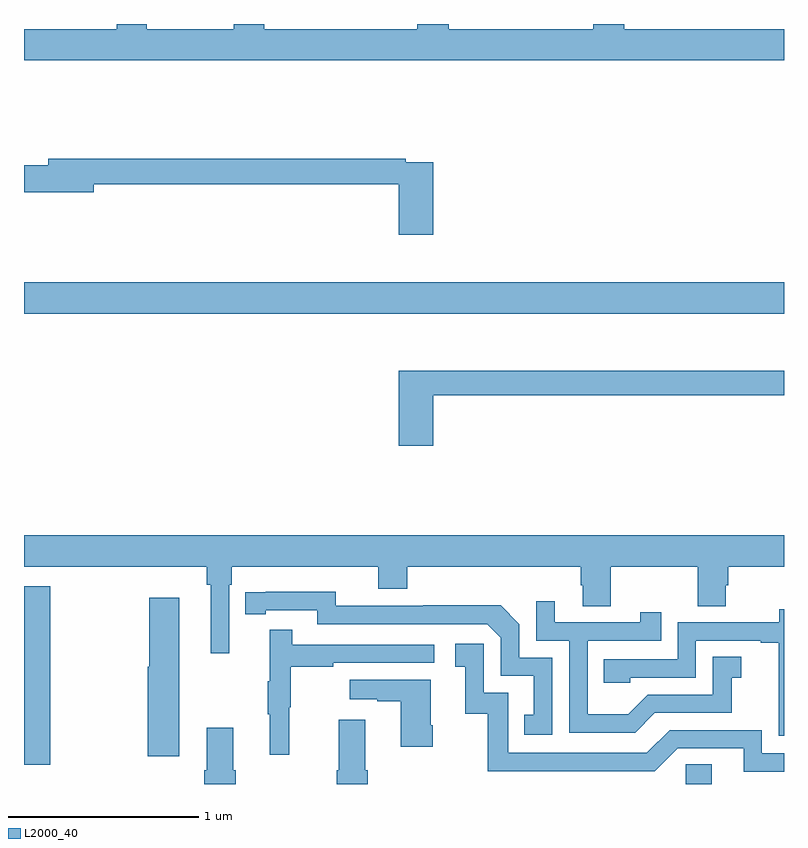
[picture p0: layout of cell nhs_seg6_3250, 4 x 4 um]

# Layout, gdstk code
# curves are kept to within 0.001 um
import gdstk
lib = gdstk.Library(unit=1e-6, precision=1e-09)
def R(c, l, rs):  # rectangles x0, y0, x1, y1
    for r in rs: c.add(gdstk.rectangle(r[:2], r[2:], *l))
def P(c, l, *ps):  # polygons
    for p in ps: c.add(gdstk.Polygon(p, *l))
L2000_40 = (2000, 40)

nhs_seg6_3250 = lib.new_cell('nhs_seg6_3250')
R(nhs_seg6_3250, L2000_40, [(304.482,971.5,304.621,971.603), (301,971.601,301.139,972.541), (301,973.976,305,974.14)])
P(nhs_seg6_3250, L2000_40, [(305,975.472),(304.16,975.472),(304.16,975.5),(303.995,975.5),(303.995,975.472),(303.236,975.472),(303.236,975.5),(303.071,975.5),(303.071,975.472),(302.264,975.472),(302.264,975.5),(302.104,975.5),(302.104,975.472),(301.647,975.472),(301.647,975.5),(301.487,975.5),(301.487,975.472),(301,975.472),(301,975.308),(305,975.308)],
  [(303.155,974.772),(303.008,974.772),(303.008,974.792),(301.127,974.792),(301.127,974.756),(301,974.756),(301,974.614),(301.366,974.614),(301.366,974.656),(302.972,974.656),(302.972,974.391),(303.155,974.391)],
  [(303.155,973.546),(305,973.546),(305,973.675),(302.972,973.675),(302.972,973.281),(303.155,973.281)],
  [(302.079,972.548),(302.093,972.548),(302.093,972.644),(302.864,972.644),(302.864,972.527),(303.017,972.527),(303.017,972.644),(303.929,972.644),(303.929,972.546),(303.941,972.546),(303.941,972.436),(304.089,972.436),(304.089,972.644),(304.546,972.644),(304.546,972.436),(304.693,972.436),(304.693,972.546),(304.706,972.546),(304.706,972.644),(305,972.644),(305,972.808),(301,972.808),(301,972.644),(301.963,972.644),(301.963,972.548),(301.982,972.548),(301.982,972.189),(302.079,972.189)],
  [(303.78,972.165),(303.606,972.165),(303.606,972.342),(303.508,972.44),(303.1,972.44),(303.1,972.438),(302.64,972.438),(302.64,972.511),(302.164,972.51),(302.164,972.394),(302.272,972.394),(302.272,972.414),(302.544,972.414),(302.544,972.342),(303.438,972.342),(303.51,972.27),(303.51,972.069),(303.683,972.069),(303.683,971.865),(303.634,971.865),(303.634,971.76),(303.78,971.76)],
  [(301.816,972.481),(301.658,972.481),(301.658,972.117),(301.652,972.117),(301.652,971.646),(301.816,971.646)],
  [(304.321,971.874),(304.725,971.874),(304.725,972.059),(304.774,972.059),(304.774,972.169),(304.626,972.169),(304.626,971.97),(304.284,971.97),(304.18,971.866),(303.966,971.866),(303.966,972.255),(304.355,972.255),(304.355,972.403),(304.244,972.403),(304.244,972.351),(303.793,972.351),(303.793,972.463),(303.696,972.463),(303.696,972.255),(303.87,972.255),(303.87,971.769),(304.216,971.769)],
  [(305,972.42),(304.974,972.42),(304.974,972.351),(304.44,972.351),(304.44,972.156),(304.051,972.156),(304.051,972.033),(304.191,972.033),(304.191,972.06),(304.536,972.06),(304.536,972.255),(304.877,972.255),(304.877,972.243),(304.973,972.243),(304.973,971.959),(304.972,971.959),(304.972,971.753),(305,971.753)],
  [(302.396,971.904),(302.404,971.904),(302.404,972.118),(302.627,972.118),(302.627,972.138),(303.16,972.138),(303.16,972.234),(302.411,972.234),(302.411,972.313),(302.294,972.313),(302.294,972.041),(302.283,972.041),(302.283,971.867),(302.294,971.867),(302.294,971.655),(302.396,971.655)],
  [(305,971.661),(304.884,971.661),(304.884,971.784),(304.398,971.784),(304.278,971.664),(303.549,971.664),(303.549,971.979),(303.42,971.979),(303.42,972.238),(303.27,972.238),(303.27,972.117),(303.323,972.117),(303.323,971.871),(303.441,971.871),(303.441,971.568),(304.32,971.568),(304.44,971.688),(304.787,971.688),(304.787,971.565),(305,971.565)],
  [(303.15,971.809),(303.142,971.809),(303.142,972.049),(302.715,972.049),(302.715,971.945),(302.858,971.945),(302.858,971.935),(302.984,971.935),(302.984,971.697),(303.15,971.697)],
  [(302.81,971.572),(302.797,971.572),(302.797,971.839),(302.657,971.839),(302.657,971.572),(302.645,971.572),(302.645,971.5),(302.81,971.5)],
  [(302.114,971.572),(302.101,971.572),(302.101,971.797),(301.961,971.797),(301.961,971.572),(301.949,971.572),(301.949,971.5),(302.114,971.5)])

lib.write_gds('nhs_seg6_3250.gds')
